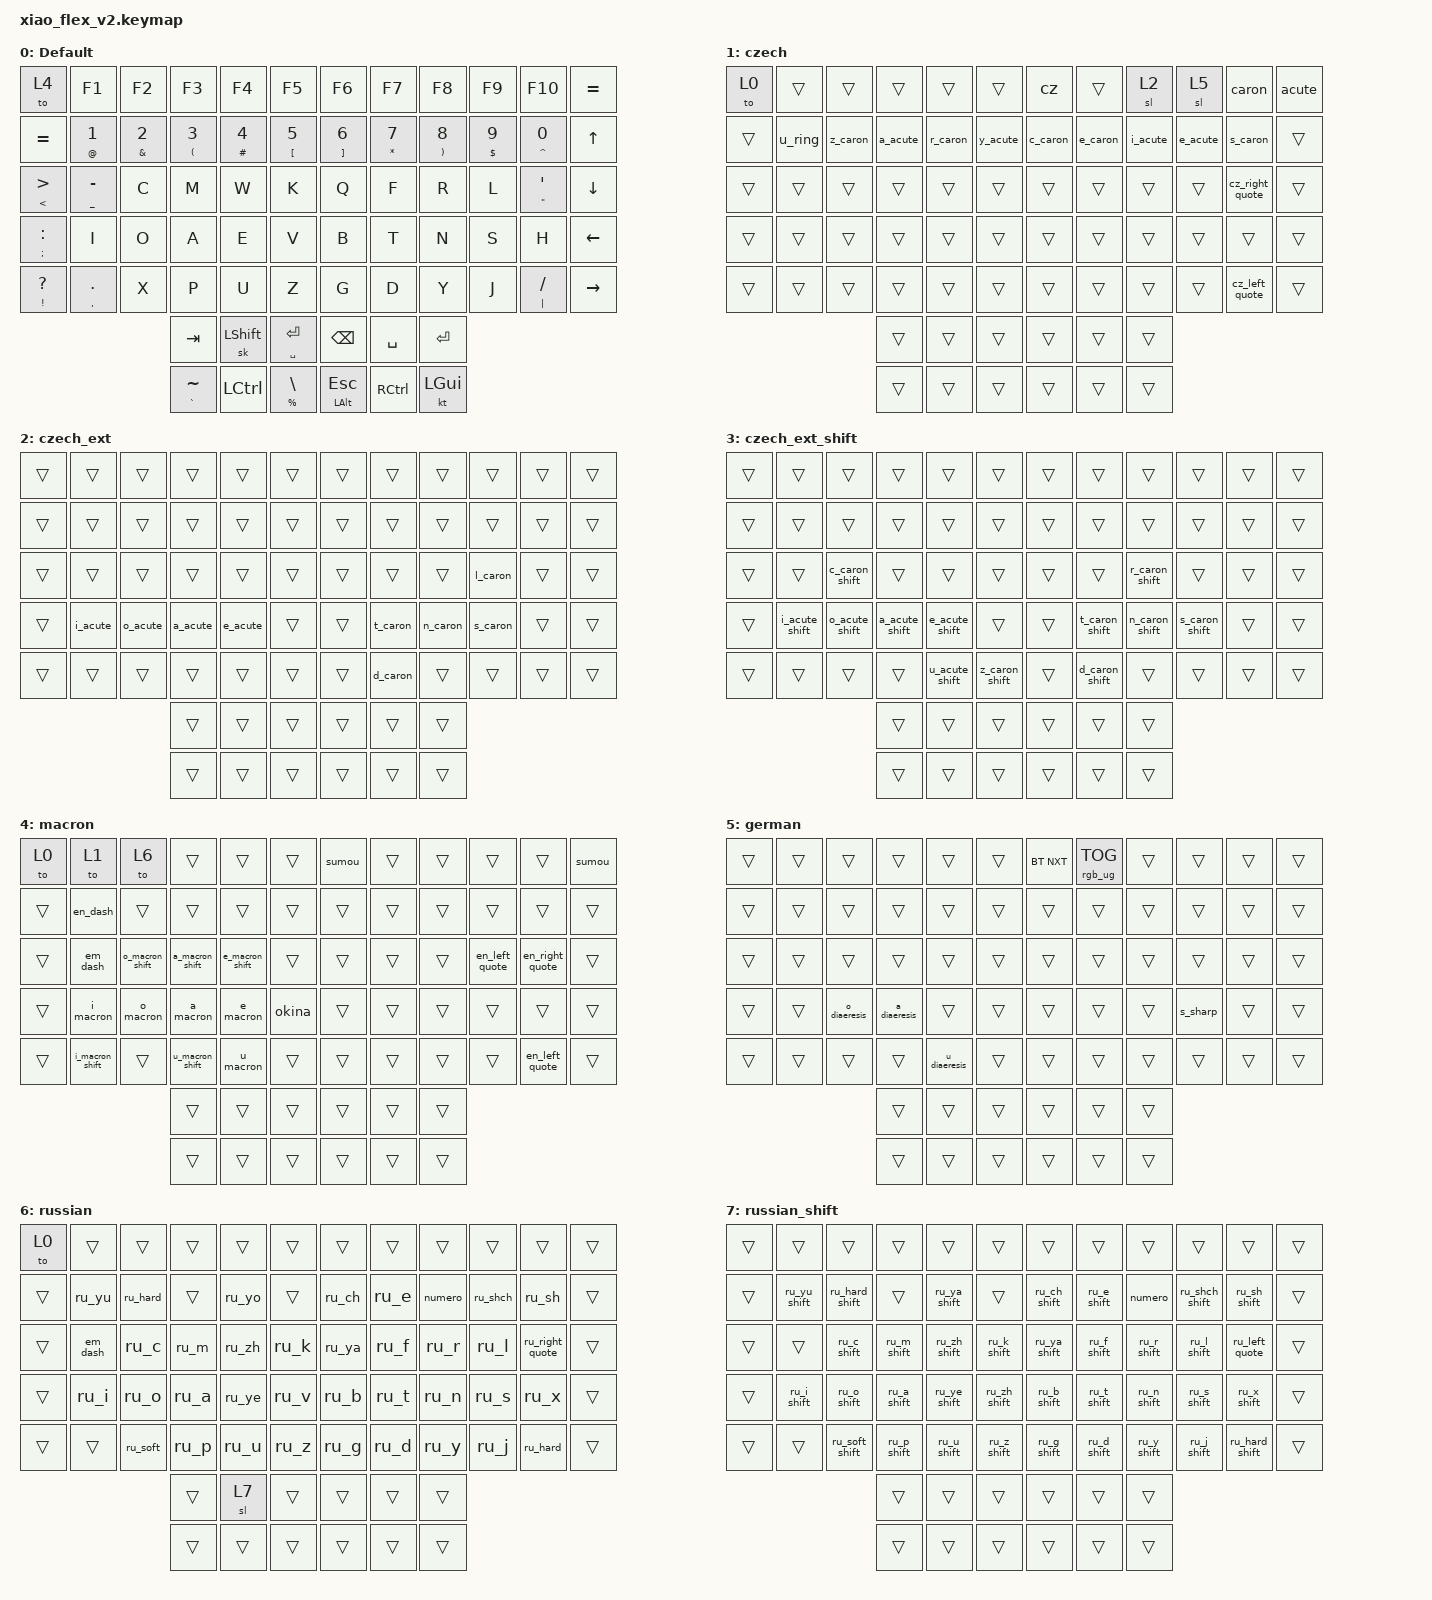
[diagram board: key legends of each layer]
/*
 * Copyright (c) 2020 The ZMK Contributors
 *
 * SPDX-License-Identifier: MIT
 */

#include <behaviors.dtsi>
#include <dt-bindings/zmk/bt.h>
#include <dt-bindings/zmk/keys.h>
#include <dt-bindings/zmk/keys.h>
#include <dt-bindings/zmk/rgb.h>

/ {
    macros {
        a_acute: a_acute {
            compatible = "zmk,behavior-macro";
            #binding-cells = <0>;
            bindings =
                <&macro_press>,
                <&kp LALT>,
                <&macro_tap>,
                <&kp KP_PLUS &kp KP_N0 &kp KP_N0 &kp E &kp KP_N1>,
                <&macro_release>,
                <&kp LALT>;

            label = "A_ACUTE";
        };

        a_acute_shift: a_acute_shift {
            compatible = "zmk,behavior-macro";
            #binding-cells = <0>;
            bindings =
                <&macro_press>,
                <&kp LALT>,
                <&macro_tap>,
                <&kp KP_PLUS &kp KP_N0 &kp KP_N0 &kp C &kp KP_N1>,
                <&macro_release>,
                <&kp LALT>;

            label = "A_ACUTE_SHIFT";
        };

        a_macron: a_macron {
            compatible = "zmk,behavior-macro";
            #binding-cells = <0>;
            bindings =
                <&macro_press>,
                <&kp LALT>,
                <&macro_tap>,
                <&kp KP_PLUS &kp KP_N0 &kp KP_N1 &kp KP_N0 &kp KP_N1>,
                <&macro_release>,
                <&kp LALT>;

            label = "A_MACRON";
        };

        a_macron_shift: a_macron_shift {
            compatible = "zmk,behavior-macro";
            #binding-cells = <0>;
            bindings =
                <&macro_press>,
                <&kp LALT>,
                <&macro_tap>,
                <&kp KP_PLUS &kp KP_N0 &kp KP_N1 &kp KP_N0 &kp KP_N0>,
                <&macro_release>,
                <&kp LALT>;

            label = "A_MACRON_SHIFT";
        };

        a_diaeresis: a_diaeresis {
            compatible = "zmk,behavior-macro";
            #binding-cells = <0>;
            bindings =
                <&macro_press>,
                <&kp LALT>,
                <&macro_tap>,
                <&kp KP_PLUS &kp KP_N0 &kp KP_N0 &kp E &kp KP_N4>,
                <&macro_release>,
                <&kp LALT>;

            label = "A_DIAERESIS";
        };

        a_diaeresis_shift: a_diaeresis_shift {
            compatible = "zmk,behavior-macro";
            #binding-cells = <0>;
            bindings =
                <&macro_press>,
                <&kp LALT>,
                <&macro_tap>,
                <&kp KP_PLUS &kp KP_N0 &kp KP_N0 &kp C &kp KP_N4>,
                <&macro_release>,
                <&kp LALT>;

            label = "A_DIAERESIS_SHIFT";
        };

        acute: acute {
            compatible = "zmk,behavior-macro";
            #binding-cells = <0>;
            bindings =
                <&macro_press>,
                <&kp LALT>,
                <&macro_tap>,
                <&kp KP_PLUS &kp KP_N0 &kp KP_N3 &kp KP_N0 &kp KP_N1>,
                <&macro_release>,
                <&kp LALT>;

            label = "ACUTE";
        };

        c_caron: c_caron {
            compatible = "zmk,behavior-macro";
            #binding-cells = <0>;
            bindings =
                <&macro_press>,
                <&kp LALT>,
                <&macro_tap>,
                <&kp KP_PLUS &kp KP_N0 &kp KP_N1 &kp KP_N0 &kp D>,
                <&macro_release>,
                <&kp LALT>;

            label = "C_CARON";
        };

        c_caron_shift: c_caron_shift {
            compatible = "zmk,behavior-macro";
            #binding-cells = <0>;
            bindings =
                <&macro_press>,
                <&kp LALT>,
                <&macro_tap>,
                <&kp KP_PLUS &kp KP_N0 &kp KP_N1 &kp KP_N0 &kp C>,
                <&macro_release>,
                <&kp LALT>;

            label = "C_CARON_SHIFT";
        };

        caron: caron {
            compatible = "zmk,behavior-macro";
            #binding-cells = <0>;
            bindings =
                <&macro_press>,
                <&kp LALT>,
                <&macro_tap>,
                <&kp KP_PLUS &kp KP_N0 &kp KP_N3 &kp KP_N0 &kp C>,
                <&macro_release>,
                <&kp LALT>;

            label = "CARON";
        };

        d_caron: d_caron {
            compatible = "zmk,behavior-macro";
            #binding-cells = <0>;
            bindings =
                <&macro_press>,
                <&kp LALT>,
                <&macro_tap>,
                <&kp KP_PLUS &kp KP_N0 &kp KP_N1 &kp KP_N0 &kp F>,
                <&macro_release>,
                <&kp LALT>;

            label = "D_CARON";
        };

        d_caron_shift: d_caron_shift {
            compatible = "zmk,behavior-macro";
            #binding-cells = <0>;
            bindings =
                <&macro_press>,
                <&kp LALT>,
                <&macro_tap>,
                <&kp KP_PLUS &kp KP_N0 &kp KP_N1 &kp KP_N0 &kp E>,
                <&macro_release>,
                <&kp LALT>;

            label = "D_CARON_SHIFT";
        };

        e_acute: e_acute {
            compatible = "zmk,behavior-macro";
            #binding-cells = <0>;
            bindings =
                <&macro_press>,
                <&kp LALT>,
                <&macro_tap>,
                <&kp KP_PLUS &kp KP_N0 &kp KP_N0 &kp E &kp KP_N9>,
                <&macro_release>,
                <&kp LALT>;

            label = "E_ACUTE";
        };

        e_acute_shift: e_acute_shift {
            compatible = "zmk,behavior-macro";
            #binding-cells = <0>;
            bindings =
                <&macro_press>,
                <&kp LALT>,
                <&macro_tap>,
                <&kp KP_PLUS &kp KP_N0 &kp KP_N0 &kp C &kp KP_N9>,
                <&macro_release>,
                <&kp LALT>;

            label = "E_ACUTE_SHIFT";
        };

        e_caron: e_caron {
            compatible = "zmk,behavior-macro";
            #binding-cells = <0>;
            bindings =
                <&macro_press>,
                <&kp LALT>,
                <&macro_tap>,
                <&kp KP_PLUS &kp KP_N0 &kp KP_N1 &kp KP_N1 &kp B>,
                <&macro_release>,
                <&kp LALT>;

            label = "E_CARON";
        };

        e_caron_shift: e_caron_shift {
            compatible = "zmk,behavior-macro";
            #binding-cells = <0>;
            bindings =
                <&macro_press>,
                <&kp LALT>,
                <&macro_tap>,
                <&kp KP_PLUS &kp KP_N0 &kp KP_N1 &kp KP_N1 &kp A>,
                <&macro_release>,
                <&kp LALT>;

            label = "E_CARON_SHIFT";
        };

        e_macron: e_macron {
            compatible = "zmk,behavior-macro";
            #binding-cells = <0>;
            bindings =
                <&macro_press>,
                <&kp LALT>,
                <&macro_tap>,
                <&kp KP_PLUS &kp KP_N0 &kp KP_N1 &kp KP_N1 &kp KP_N3>,
                <&macro_release>,
                <&kp LALT>;

            label = "E_MACRON";
        };

        e_macron_shift: e_macron_shift {
            compatible = "zmk,behavior-macro";
            #binding-cells = <0>;
            bindings =
                <&macro_press>,
                <&kp LALT>,
                <&macro_tap>,
                <&kp KP_PLUS &kp KP_N0 &kp KP_N1 &kp KP_N1 &kp KP_N2>,
                <&macro_release>,
                <&kp LALT>;

            label = "E_MACRON_SHIFT";
        };

        em_dash: em_dash {
            compatible = "zmk,behavior-macro";
            #binding-cells = <0>;
            bindings =
                <&macro_press>,
                <&kp LALT>,
                <&macro_tap>,
                <&kp KP_PLUS &kp KP_N2 &kp KP_N0 &kp KP_N1 &kp KP_NUMBER_4>,
                <&macro_release>,
                <&kp LALT>;

            label = "EM_DASH";
        };

        en_dash: en_dash {
            compatible = "zmk,behavior-macro";
            #binding-cells = <0>;
            bindings =
                <&macro_press>,
                <&kp LALT>,
                <&macro_tap>,
                <&kp KP_PLUS &kp KP_N2 &kp KP_N0 &kp KP_N1 &kp KP_N3>,
                <&macro_release>,
                <&kp LALT>;

            label = "EN_DASH";
        };

        i_acute: i_acute {
            compatible = "zmk,behavior-macro";
            #binding-cells = <0>;
            bindings =
                <&macro_press>,
                <&kp LALT>,
                <&macro_tap>,
                <&kp KP_PLUS &kp KP_N0 &kp KP_N0 &kp E &kp D>,
                <&macro_release>,
                <&kp LALT>;

            label = "I_ACUTE";
        };

        i_acute_shift: i_acute_shift {
            compatible = "zmk,behavior-macro";
            #binding-cells = <0>;
            bindings =
                <&macro_press>,
                <&kp LALT>,
                <&macro_tap>,
                <&kp KP_PLUS &kp KP_N0 &kp KP_N0 &kp C &kp D>,
                <&macro_release>,
                <&kp LALT>;

            label = "I_ACUTE_SHIFT";
        };

        i_macron: i_macron {
            compatible = "zmk,behavior-macro";
            #binding-cells = <0>;
            bindings =
                <&macro_press>,
                <&kp LALT>,
                <&macro_tap>,
                <&kp KP_PLUS &kp KP_N0 &kp KP_N1 &kp KP_N1 &kp B>,
                <&macro_release>,
                <&kp LALT>;

            label = "I_MACRON";
        };

        i_macron_shift: i_macron_shift {
            compatible = "zmk,behavior-macro";
            #binding-cells = <0>;
            bindings =
                <&macro_press>,
                <&kp LALT>,
                <&macro_tap>,
                <&kp KP_PLUS &kp KP_N0 &kp KP_N1 &kp KP_N1 &kp A>,
                <&macro_release>,
                <&kp LALT>;

            label = "I_MACRON_SHIFT";
        };

        l_caron: l_caron {
            compatible = "zmk,behavior-macro";
            #binding-cells = <0>;
            bindings =
                <&macro_press>,
                <&kp LALT>,
                <&macro_tap>,
                <&kp KP_PLUS &kp KP_N0 &kp KP_N1 &kp KP_N3 &kp E>,
                <&macro_release>,
                <&kp LALT>;

            label = "L_CARON";
        };

        l_caron_shift: l_caron_shift {
            compatible = "zmk,behavior-macro";
            #binding-cells = <0>;
            bindings =
                <&macro_press>,
                <&kp LALT>,
                <&macro_tap>,
                <&kp KP_PLUS &kp KP_N0 &kp KP_N1 &kp KP_N3 &kp D>,
                <&macro_release>,
                <&kp LALT>;

            label = "L_CARON_SHIFT";
        };

        n_caron: n_caron {
            compatible = "zmk,behavior-macro";
            #binding-cells = <0>;
            bindings =
                <&macro_press>,
                <&kp LALT>,
                <&macro_tap>,
                <&kp KP_PLUS &kp KP_N0 &kp KP_N1 &kp KP_N4 &kp KP_N8>,
                <&macro_release>,
                <&kp LALT>;

            label = "N_CARON";
        };

        n_caron_shift: n_caron_shift {
            compatible = "zmk,behavior-macro";
            #binding-cells = <0>;
            bindings =
                <&macro_press>,
                <&kp LALT>,
                <&macro_tap>,
                <&kp KP_PLUS &kp KP_N0 &kp KP_N1 &kp KP_N4 &kp KP_N7>,
                <&macro_release>,
                <&kp LALT>;

            label = "N_CARON_SHIFT";
        };

        numero: numero {
            compatible = "zmk,behavior-macro";
            #binding-cells = <0>;
            bindings =
                <&macro_press>,
                <&kp LALT>,
                <&macro_tap>,
                <&kp KP_PLUS &kp KP_N2 &kp KP_N1 &kp KP_N1 &kp KP_N6>,
                <&macro_release>,
                <&kp LALT>;

            label = "NUMERO";
        };

        o_acute: o_acute {
            compatible = "zmk,behavior-macro";
            #binding-cells = <0>;
            bindings =
                <&macro_press>,
                <&kp LALT>,
                <&macro_tap>,
                <&kp KP_PLUS &kp KP_N0 &kp KP_N0 &kp F &kp KP_N3>,
                <&macro_release>,
                <&kp LALT>;

            label = "O_ACUTE";
        };

        o_acute_shift: o_acute_shift {
            compatible = "zmk,behavior-macro";
            #binding-cells = <0>;
            bindings =
                <&macro_press>,
                <&kp LALT>,
                <&macro_tap>,
                <&kp KP_PLUS &kp KP_N0 &kp KP_N0 &kp D &kp KP_N3>,
                <&macro_release>,
                <&kp LALT>;

            label = "O_ACUTE_SHIFT";
        };

        o_macron: o_macron {
            compatible = "zmk,behavior-macro";
            #binding-cells = <0>;
            bindings =
                <&macro_press>,
                <&kp LALT>,
                <&macro_tap>,
                <&kp KP_PLUS &kp KP_N0 &kp KP_N1 &kp KP_N4 &kp D>,
                <&macro_release>,
                <&kp LALT>;

            label = "O_MACRON";
        };

        o_macron_shift: o_macron_shift {
            compatible = "zmk,behavior-macro";
            #binding-cells = <0>;
            bindings =
                <&macro_press>,
                <&kp LALT>,
                <&macro_tap>,
                <&kp KP_PLUS &kp KP_N0 &kp KP_N1 &kp KP_N4 &kp C>,
                <&macro_release>,
                <&kp LALT>;

            label = "O_MACRON_SHIFT";
        };

        o_diaeresis: o_diaeresis {
            compatible = "zmk,behavior-macro";
            #binding-cells = <0>;
            bindings =
                <&macro_press>,
                <&kp LALT>,
                <&macro_tap>,
                <&kp KP_PLUS &kp KP_N0 &kp KP_N0 &kp F &kp KP_N6>,
                <&macro_release>,
                <&kp LALT>;

            label = "O_DIAERESIS";
        };

        o_diaeresis_shift: o_diaeresis_shift {
            compatible = "zmk,behavior-macro";
            #binding-cells = <0>;
            bindings =
                <&macro_press>,
                <&kp LALT>,
                <&macro_tap>,
                <&kp KP_PLUS &kp KP_N0 &kp KP_N0 &kp D &kp KP_N6>,
                <&macro_release>,
                <&kp LALT>;

            label = "O_DIAERESIS_SHIFT";
        };

        okina: okina {
            compatible = "zmk,behavior-macro";
            #binding-cells = <0>;
            bindings =
                <&macro_press>,
                <&kp LALT>,
                <&macro_tap>,
                <&kp KP_PLUS &kp KP_N0 &kp KP_N2 &kp B &kp B>,
                <&macro_release>,
                <&kp LALT>;

            label = "OKINA";
        };

        r_caron: r_caron {
            compatible = "zmk,behavior-macro";
            #binding-cells = <0>;
            bindings =
                <&macro_press>,
                <&kp LALT>,
                <&macro_tap>,
                <&kp KP_PLUS &kp KP_N0 &kp KP_N1 &kp KP_N5 &kp KP_N9>,
                <&macro_release>,
                <&kp LALT>;

            label = "R_CARON";
        };

        r_caron_shift: r_caron_shift {
            compatible = "zmk,behavior-macro";
            #binding-cells = <0>;
            bindings =
                <&macro_press>,
                <&kp LALT>,
                <&macro_tap>,
                <&kp KP_PLUS &kp KP_N0 &kp KP_N1 &kp KP_N5 &kp KP_N8>,
                <&macro_release>,
                <&kp LALT>;

            label = "R_CARON_SHIFT";
        };

        s_caron: s_caron {
            compatible = "zmk,behavior-macro";
            #binding-cells = <0>;
            bindings =
                <&macro_press>,
                <&kp LALT>,
                <&macro_tap>,
                <&kp KP_PLUS &kp KP_N0 &kp KP_N1 &kp KP_N6 &kp KP_N1>,
                <&macro_release>,
                <&kp LALT>;

            label = "S_CARON";
        };

        s_caron_shift: s_caron_shift {
            compatible = "zmk,behavior-macro";
            #binding-cells = <0>;
            bindings =
                <&macro_press>,
                <&kp LALT>,
                <&macro_tap>,
                <&kp KP_PLUS &kp KP_N0 &kp KP_N1 &kp KP_N6 &kp KP_N0>,
                <&macro_release>,
                <&kp LALT>;

            label = "S_CARON_SHIFT";
        };

        s_sharp: s_sharp {
            compatible = "zmk,behavior-macro";
            #binding-cells = <0>;
            bindings =
                <&macro_press>,
                <&kp LALT>,
                <&macro_tap>,
                <&kp KP_PLUS &kp KP_N0 &kp KP_N0 &kp D &kp F>,
                <&macro_release>,
                <&kp LALT>;

            label = "S_SHARP";
        };

        t_caron: t_caron {
            compatible = "zmk,behavior-macro";
            #binding-cells = <0>;
            bindings =
                <&macro_press>,
                <&kp LALT>,
                <&macro_tap>,
                <&kp KP_PLUS &kp KP_N0 &kp KP_N1 &kp KP_N6 &kp KP_N5>,
                <&macro_release>,
                <&kp LALT>;

            label = "T_CARON";
        };

        t_caron_shift: t_caron_shift {
            compatible = "zmk,behavior-macro";
            #binding-cells = <0>;
            bindings =
                <&macro_press>,
                <&kp LALT>,
                <&macro_tap>,
                <&kp KP_PLUS &kp KP_N0 &kp KP_N1 &kp KP_N6 &kp KP_N4>,
                <&macro_release>,
                <&kp LALT>;

            label = "T_CARON_SHIFT";
        };

        u_acute: u_acute {
            compatible = "zmk,behavior-macro";
            #binding-cells = <0>;
            bindings =
                <&macro_press>,
                <&kp LALT>,
                <&macro_tap>,
                <&kp KP_PLUS &kp KP_N0 &kp KP_N0 &kp F &kp A>,
                <&macro_release>,
                <&kp LALT>;

            label = "U_ACUTE";
        };

        u_acute_shift: u_acute_shift {
            compatible = "zmk,behavior-macro";
            #binding-cells = <0>;
            bindings =
                <&macro_press>,
                <&kp LALT>,
                <&macro_tap>,
                <&kp KP_PLUS &kp KP_N0 &kp KP_N0 &kp D &kp A>,
                <&macro_release>,
                <&kp LALT>;

            label = "U_ACUTE_SHIFT";
        };

        u_macron: u_macron {
            compatible = "zmk,behavior-macro";
            #binding-cells = <0>;
            bindings =
                <&macro_press>,
                <&kp LALT>,
                <&macro_tap>,
                <&kp KP_PLUS &kp KP_N0 &kp KP_N1 &kp KP_N6 &kp B>,
                <&macro_release>,
                <&kp LALT>;

            label = "U_MACRON";
        };

        u_macron_shift: u_macron_shift {
            compatible = "zmk,behavior-macro";
            #binding-cells = <0>;
            bindings =
                <&macro_press>,
                <&kp LALT>,
                <&macro_tap>,
                <&kp KP_PLUS &kp KP_N0 &kp KP_N1 &kp KP_N6 &kp A>,
                <&macro_release>,
                <&kp LALT>;

            label = "U_MACRON_SHIFT";
        };

        u_ring: u_ring {
            compatible = "zmk,behavior-macro";
            #binding-cells = <0>;
            bindings =
                <&macro_press>,
                <&kp LALT>,
                <&macro_tap>,
                <&kp KP_PLUS &kp KP_N0 &kp KP_N1 &kp KP_N6 &kp F>,
                <&macro_release>,
                <&kp LALT>;

            label = "U_RING";
        };

        u_ring_shift: u_ring_shift {
            compatible = "zmk,behavior-macro";
            #binding-cells = <0>;
            bindings =
                <&macro_press>,
                <&kp LALT>,
                <&macro_tap>,
                <&kp KP_PLUS &kp KP_N0 &kp KP_N1 &kp KP_N6 &kp E>,
                <&macro_release>,
                <&kp LALT>;

            label = "U_RING_SHIFT";
        };

        u_diaeresis: u_diaeresis {
            compatible = "zmk,behavior-macro";
            #binding-cells = <0>;
            bindings =
                <&macro_press>,
                <&kp LALT>,
                <&macro_tap>,
                <&kp KP_PLUS &kp KP_N0 &kp KP_N0 &kp F &kp C>,
                <&macro_release>,
                <&kp LALT>;

            label = "U_DIAERESIS";
        };

        u_diaeresis_shift: u_diaeresis_shift {
            compatible = "zmk,behavior-macro";
            #binding-cells = <0>;
            bindings =
                <&macro_press>,
                <&kp LALT>,
                <&macro_tap>,
                <&kp KP_PLUS &kp KP_N0 &kp KP_N0 &kp D &kp C>,
                <&macro_release>,
                <&kp LALT>;

            label = "U_DIAERESIS_SHIFT";
        };

        y_acute: y_acute {
            compatible = "zmk,behavior-macro";
            #binding-cells = <0>;
            bindings =
                <&macro_press>,
                <&kp LALT>,
                <&macro_tap>,
                <&kp KP_PLUS &kp KP_N0 &kp KP_N0 &kp F &kp D>,
                <&macro_release>,
                <&kp LALT>;

            label = "Y_ACUTE";
        };

        y_acute_shift: y_acute_shift {
            compatible = "zmk,behavior-macro";
            #binding-cells = <0>;
            bindings =
                <&macro_press>,
                <&kp LALT>,
                <&macro_tap>,
                <&kp KP_PLUS &kp KP_N0 &kp KP_N0 &kp D &kp D>,
                <&macro_release>,
                <&kp LALT>;

            label = "Y_ACUTE_SHIFT";
        };

        z_caron: z_caron {
            compatible = "zmk,behavior-macro";
            #binding-cells = <0>;
            bindings =
                <&macro_press>,
                <&kp LALT>,
                <&macro_tap>,
                <&kp KP_PLUS &kp KP_N0 &kp KP_N1 &kp KP_N7 &kp E>,
                <&macro_release>,
                <&kp LALT>;

            label = "Z_CARON";
        };

        z_caron_shift: z_caron_shift {
            compatible = "zmk,behavior-macro";
            #binding-cells = <0>;
            bindings =
                <&macro_press>,
                <&kp LALT>,
                <&macro_tap>,
                <&kp KP_PLUS &kp KP_N0 &kp KP_N1 &kp KP_N7 &kp D>,
                <&macro_release>,
                <&kp LALT>;

            label = "Z_CARON_SHIFT";
        };

        ru_a: ru_a {
            compatible = "zmk,behavior-macro";
            #binding-cells = <0>;
            bindings =
                <&macro_press>,
                <&kp LALT>,
                <&macro_tap>,
                <&kp KP_PLUS &kp KP_N0 &kp KP_N4 &kp KP_N3 &kp KP_N0>,
                <&macro_release>,
                <&kp LALT>;

            label = "RU_A";
        };

        ru_a_shift: ru_a_shift {
            compatible = "zmk,behavior-macro";
            #binding-cells = <0>;
            bindings =
                <&macro_press>,
                <&kp LALT>,
                <&macro_tap>,
                <&kp KP_PLUS &kp KP_N0 &kp KP_N4 &kp KP_N1 &kp KP_N0>,
                <&macro_release>,
                <&kp LALT>;

            label = "RU_A_SHIFT";
        };

        ru_b: ru_b {
            compatible = "zmk,behavior-macro";
            #binding-cells = <0>;
            bindings =
                <&macro_press>,
                <&kp LALT>,
                <&macro_tap>,
                <&kp KP_PLUS &kp KP_N0 &kp KP_N4 &kp KP_N3 &kp KP_N1>,
                <&macro_release>,
                <&kp LALT>;

            label = "RU_B";
        };

        ru_b_shift: ru_b_shift {
            compatible = "zmk,behavior-macro";
            #binding-cells = <0>;
            bindings =
                <&macro_press>,
                <&kp LALT>,
                <&macro_tap>,
                <&kp KP_PLUS &kp KP_N0 &kp KP_N4 &kp KP_N1 &kp KP_N1>,
                <&macro_release>,
                <&kp LALT>;

            label = "RU_B_SHIFT";
        };

        ru_v: ru_v {
            compatible = "zmk,behavior-macro";
            #binding-cells = <0>;
            bindings =
                <&macro_press>,
                <&kp LALT>,
                <&macro_tap>,
                <&kp KP_PLUS &kp KP_N0 &kp KP_N4 &kp KP_N3 &kp KP_N2>,
                <&macro_release>,
                <&kp LALT>;

            label = "RU_V";
        };

        ru_v_shift: ru_v_shift {
            compatible = "zmk,behavior-macro";
            #binding-cells = <0>;
            bindings =
                <&macro_press>,
                <&kp LALT>,
                <&macro_tap>,
                <&kp KP_PLUS &kp KP_N0 &kp KP_N4 &kp KP_N1 &kp KP_N2>,
                <&macro_release>,
                <&kp LALT>;

            label = "RU_V_SHIFT";
        };

        ru_g: ru_g {
            compatible = "zmk,behavior-macro";
            #binding-cells = <0>;
            bindings =
                <&macro_press>,
                <&kp LALT>,
                <&macro_tap>,
                <&kp KP_PLUS &kp KP_N0 &kp KP_N4 &kp KP_N3 &kp KP_N3>,
                <&macro_release>,
                <&kp LALT>;

            label = "RU_G";
        };

        ru_g_shift: ru_g_shift {
            compatible = "zmk,behavior-macro";
            #binding-cells = <0>;
            bindings =
                <&macro_press>,
                <&kp LALT>,
                <&macro_tap>,
                <&kp KP_PLUS &kp KP_N0 &kp KP_N4 &kp KP_N1 &kp KP_N3>,
                <&macro_release>,
                <&kp LALT>;

            label = "RU_G_SHIFT";
        };

        ru_d: ru_d {
            compatible = "zmk,behavior-macro";
            #binding-cells = <0>;
            bindings =
                <&macro_press>,
                <&kp LALT>,
                <&macro_tap>,
                <&kp KP_PLUS &kp KP_N0 &kp KP_N4 &kp KP_N3 &kp KP_N4>,
                <&macro_release>,
                <&kp LALT>;

            label = "RU_D";
        };

        ru_d_shift: ru_d_shift {
            compatible = "zmk,behavior-macro";
            #binding-cells = <0>;
            bindings =
                <&macro_press>,
                <&kp LALT>,
                <&macro_tap>,
                <&kp KP_PLUS &kp KP_N0 &kp KP_N4 &kp KP_N1 &kp KP_N4>,
                <&macro_release>,
                <&kp LALT>;

            label = "RU_D_SHIFT";
        };

        ru_ye: ru_ye {
            compatible = "zmk,behavior-macro";
            #binding-cells = <0>;
            bindings =
                <&macro_press>,
                <&kp LALT>,
                <&macro_tap>,
                <&kp KP_PLUS &kp KP_N0 &kp KP_N4 &kp KP_N3 &kp KP_N5>,
                <&macro_release>,
                <&kp LALT>;

            label = "RU_YE";
        };

        ru_ye_shift: ru_ye_shift {
            compatible = "zmk,behavior-macro";
            #binding-cells = <0>;
            bindings =
                <&macro_press>,
                <&kp LALT>,
                <&macro_tap>,
                <&kp KP_PLUS &kp KP_N0 &kp KP_N4 &kp KP_N1 &kp KP_N5>,
                <&macro_release>,
                <&kp LALT>;

            label = "RU_YE_SHIFT";
        };

        ru_yo: ru_yo {
            compatible = "zmk,behavior-macro";
            #binding-cells = <0>;
            bindings =
                <&macro_press>,
                <&kp LALT>,
                <&macro_tap>,
                <&kp KP_PLUS &kp KP_N0 &kp KP_N4 &kp KP_N5 &kp KP_N1>,
                <&macro_release>,
                <&kp LALT>;

            label = "RU_YO";
        };

        ru_yo_shift: ru_yo_shift {
            compatible = "zmk,behavior-macro";
            #binding-cells = <0>;
            bindings =
                <&macro_press>,
                <&kp LALT>,
                <&macro_tap>,
                <&kp KP_PLUS &kp KP_N0 &kp KP_N4 &kp KP_N0 &kp KP_N1>,
                <&macro_release>,
                <&kp LALT>;

            label = "RU_YO_SHIFT";
        };

        ru_zh: ru_zh {
            compatible = "zmk,behavior-macro";
            #binding-cells = <0>;
            bindings =
                <&macro_press>,
                <&kp LALT>,
                <&macro_tap>,
                <&kp KP_PLUS &kp KP_N0 &kp KP_N4 &kp KP_N3 &kp KP_N6>,
                <&macro_release>,
                <&kp LALT>;

            label = "RU_ZH";
        };

        ru_zh_shift: ru_zh_shift {
            compatible = "zmk,behavior-macro";
            #binding-cells = <0>;
            bindings =
                <&macro_press>,
                <&kp LALT>,
                <&macro_tap>,
                <&kp KP_PLUS &kp KP_N0 &kp KP_N4 &kp KP_N1 &kp KP_N6>,
                <&macro_release>,
                <&kp LALT>;

            label = "RU_ZH_SHIFT";
        };

        ru_z: ru_z {
            compatible = "zmk,behavior-macro";
            #binding-cells = <0>;
            bindings =
                <&macro_press>,
                <&kp LALT>,
                <&macro_tap>,
                <&kp KP_PLUS &kp KP_N0 &kp KP_N4 &kp KP_N3 &kp KP_N7>,
                <&macro_release>,
                <&kp LALT>;

            label = "RU_Z";
        };

        ru_z_shift: ru_z_shift {
            compatible = "zmk,behavior-macro";
            #binding-cells = <0>;
            bindings =
                <&macro_press>,
                <&kp LALT>,
                <&macro_tap>,
                <&kp KP_PLUS &kp KP_N0 &kp KP_N4 &kp KP_N1 &kp KP_N7>,
                <&macro_release>,
                <&kp LALT>;

            label = "RU_Z_SHIFT";
        };

        ru_i: ru_i {
            compatible = "zmk,behavior-macro";
            #binding-cells = <0>;
            bindings =
                <&macro_press>,
                <&kp LALT>,
                <&macro_tap>,
                <&kp KP_PLUS &kp KP_N0 &kp KP_N4 &kp KP_N3 &kp KP_N8>,
                <&macro_release>,
                <&kp LALT>;

            label = "RU_I";
        };

        ru_i_shift: ru_i_shift {
            compatible = "zmk,behavior-macro";
            #binding-cells = <0>;
            bindings =
                <&macro_press>,
                <&kp LALT>,
                <&macro_tap>,
                <&kp KP_PLUS &kp KP_N0 &kp KP_N4 &kp KP_N1 &kp KP_N8>,
                <&macro_release>,
                <&kp LALT>;

            label = "RU_I_SHIFT";
        };

        ru_j: ru_j {
            compatible = "zmk,behavior-macro";
            #binding-cells = <0>;
            bindings =
                <&macro_press>,
                <&kp LALT>,
                <&macro_tap>,
                <&kp KP_PLUS &kp KP_N0 &kp KP_N4 &kp KP_N3 &kp KP_N9>,
                <&macro_release>,
                <&kp LALT>;

            label = "RU_J";
        };

        ru_j_shift: ru_j_shift {
            compatible = "zmk,behavior-macro";
            #binding-cells = <0>;
            bindings =
                <&macro_press>,
                <&kp LALT>,
                <&macro_tap>,
                <&kp KP_PLUS &kp KP_N0 &kp KP_N4 &kp KP_N1 &kp KP_N9>,
                <&macro_release>,
                <&kp LALT>;

            label = "RU_J_SHIFT";
        };

        ru_k: ru_k {
            compatible = "zmk,behavior-macro";
            #binding-cells = <0>;
            bindings =
                <&macro_press>,
                <&kp LALT>,
                <&macro_tap>,
                <&kp KP_PLUS &kp KP_N0 &kp KP_N4 &kp KP_N3 &kp A>,
                <&macro_release>,
                <&kp LALT>;

            label = "RU_K";
        };

        ru_k_shift: ru_k_shift {
            compatible = "zmk,behavior-macro";
            #binding-cells = <0>;
            bindings =
                <&macro_press>,
                <&kp LALT>,
                <&macro_tap>,
                <&kp KP_PLUS &kp KP_N0 &kp KP_N4 &kp KP_N1 &kp A>,
                <&macro_release>,
                <&kp LALT>;

            label = "RU_K_SHIFT";
        };

        ru_l: ru_l {
            compatible = "zmk,behavior-macro";
            #binding-cells = <0>;
            bindings =
                <&macro_press>,
                <&kp LALT>,
                <&macro_tap>,
                <&kp KP_PLUS &kp KP_N0 &kp KP_N4 &kp KP_N3 &kp B>,
                <&macro_release>,
                <&kp LALT>;

            label = "RU_L";
        };

        ru_l_shift: ru_l_shift {
            compatible = "zmk,behavior-macro";
            #binding-cells = <0>;
            bindings =
                <&macro_press>,
                <&kp LALT>,
                <&macro_tap>,
                <&kp KP_PLUS &kp KP_N0 &kp KP_N4 &kp KP_N1 &kp B>,
                <&macro_release>,
                <&kp LALT>;

            label = "RU_L_SHIFT";
        };

        ru_m: ru_m {
            compatible = "zmk,behavior-macro";
            #binding-cells = <0>;
            bindings =
                <&macro_press>,
                <&kp LALT>,
                <&macro_tap>,
                <&kp KP_PLUS &kp KP_N0 &kp KP_N4 &kp KP_N3 &kp C>,
                <&macro_release>,
                <&kp LALT>;

            label = "RU_M";
        };

        ru_m_shift: ru_m_shift {
            compatible = "zmk,behavior-macro";
            #binding-cells = <0>;
            bindings =
                <&macro_press>,
                <&kp LALT>,
                <&macro_tap>,
                <&kp KP_PLUS &kp KP_N0 &kp KP_N4 &kp KP_N1 &kp C>,
                <&macro_release>,
                <&kp LALT>;

            label = "RU_M_SHIFT";
        };

        ru_n: ru_n {
            compatible = "zmk,behavior-macro";
            #binding-cells = <0>;
            bindings =
                <&macro_press>,
                <&kp LALT>,
                <&macro_tap>,
                <&kp KP_PLUS &kp KP_N0 &kp KP_N4 &kp KP_N3 &kp D>,
                <&macro_release>,
                <&kp LALT>;

            label = "RU_N";
        };

        ru_n_shift: ru_n_shift {
            compatible = "zmk,behavior-macro";
            #binding-cells = <0>;
            bindings =
                <&macro_press>,
                <&kp LALT>,
                <&macro_tap>,
                <&kp KP_PLUS &kp KP_N0 &kp KP_N4 &kp KP_N1 &kp D>,
                <&macro_release>,
                <&kp LALT>;

            label = "RU_N_SHIFT";
        };

        ru_o: ru_o {
            compatible = "zmk,behavior-macro";
            #binding-cells = <0>;
            bindings =
                <&macro_press>,
                <&kp LALT>,
                <&macro_tap>,
                <&kp KP_PLUS &kp KP_N0 &kp KP_N4 &kp KP_N3 &kp E>,
                <&macro_release>,
                <&kp LALT>;

            label = "RU_O";
        };

        ru_o_shift: ru_o_shift {
            compatible = "zmk,behavior-macro";
            #binding-cells = <0>;
            bindings =
                <&macro_press>,
                <&kp LALT>,
                <&macro_tap>,
                <&kp KP_PLUS &kp KP_N0 &kp KP_N4 &kp KP_N1 &kp E>,
                <&macro_release>,
                <&kp LALT>;

            label = "RU_O_SHIFT";
        };

        ru_p: ru_p {
            compatible = "zmk,behavior-macro";
            #binding-cells = <0>;
            bindings =
                <&macro_press>,
                <&kp LALT>,
                <&macro_tap>,
                <&kp KP_PLUS &kp KP_N0 &kp KP_N4 &kp KP_N3 &kp F>,
                <&macro_release>,
                <&kp LALT>;

            label = "RU_P";
        };

        ru_p_shift: ru_p_shift {
            compatible = "zmk,behavior-macro";
            #binding-cells = <0>;
            bindings =
                <&macro_press>,
                <&kp LALT>,
                <&macro_tap>,
                <&kp KP_PLUS &kp KP_N0 &kp KP_N4 &kp KP_N1 &kp F>,
                <&macro_release>,
                <&kp LALT>;

            label = "RU_P_SHIFT";
        };

        ru_r: ru_r {
            compatible = "zmk,behavior-macro";
            #binding-cells = <0>;
            bindings =
                <&macro_press>,
                <&kp LALT>,
                <&macro_tap>,
                <&kp KP_PLUS &kp KP_N0 &kp KP_N4 &kp KP_N4 &kp KP_N0>,
                <&macro_release>,
                <&kp LALT>;

            label = "RU_R";
        };

        ru_r_shift: ru_r_shift {
            compatible = "zmk,behavior-macro";
            #binding-cells = <0>;
            bindings =
                <&macro_press>,
                <&kp LALT>,
                <&macro_tap>,
                <&kp KP_PLUS &kp KP_N0 &kp KP_N4 &kp KP_N2 &kp KP_N0>,
                <&macro_release>,
                <&kp LALT>;

            label = "RU_R_SHIFT";
        };

        ru_s: ru_s {
            compatible = "zmk,behavior-macro";
            #binding-cells = <0>;
            bindings =
                <&macro_press>,
                <&kp LALT>,
                <&macro_tap>,
                <&kp KP_PLUS &kp KP_N0 &kp KP_N4 &kp KP_N4 &kp KP_N1>,
                <&macro_release>,
                <&kp LALT>;

            label = "RU_S";
        };

        ru_s_shift: ru_s_shift {
            compatible = "zmk,behavior-macro";
            #binding-cells = <0>;
            bindings =
                <&macro_press>,
                <&kp LALT>,
                <&macro_tap>,
                <&kp KP_PLUS &kp KP_N0 &kp KP_N4 &kp KP_N2 &kp KP_N1>,
                <&macro_release>,
                <&kp LALT>;

            label = "RU_S_SHIFT";
        };

        ru_t: ru_t {
            compatible = "zmk,behavior-macro";
            #binding-cells = <0>;
            bindings =
                <&macro_press>,
                <&kp LALT>,
                <&macro_tap>,
                <&kp KP_PLUS &kp KP_N0 &kp KP_N4 &kp KP_N4 &kp KP_N2>,
                <&macro_release>,
                <&kp LALT>;

            label = "RU_T";
        };

        ru_t_shift: ru_t_shift {
            compatible = "zmk,behavior-macro";
            #binding-cells = <0>;
            bindings =
                <&macro_press>,
                <&kp LALT>,
                <&macro_tap>,
                <&kp KP_PLUS &kp KP_N0 &kp KP_N4 &kp KP_N2 &kp KP_N2>,
                <&macro_release>,
                <&kp LALT>;

            label = "RU_T_SHIFT";
        };

        ru_u: ru_u {
            compatible = "zmk,behavior-macro";
            #binding-cells = <0>;
            bindings =
                <&macro_press>,
                <&kp LALT>,
                <&macro_tap>,
                <&kp KP_PLUS &kp KP_N0 &kp KP_N4 &kp KP_N4 &kp KP_N3>,
                <&macro_release>,
                <&kp LALT>;

            label = "RU_U";
        };

        ru_u_shift: ru_u_shift {
            compatible = "zmk,behavior-macro";
            #binding-cells = <0>;
            bindings =
                <&macro_press>,
                <&kp LALT>,
                <&macro_tap>,
                <&kp KP_PLUS &kp KP_N0 &kp KP_N4 &kp KP_N2 &kp KP_N3>,
                <&macro_release>,
                <&kp LALT>;

            label = "RU_U_SHIFT";
        };

        ru_f: ru_f {
            compatible = "zmk,behavior-macro";
            #binding-cells = <0>;
            bindings =
                <&macro_press>,
                <&kp LALT>,
                <&macro_tap>,
                <&kp KP_PLUS &kp KP_N0 &kp KP_N4 &kp KP_N4 &kp KP_N4>,
                <&macro_release>,
                <&kp LALT>;

            label = "RU_F";
        };

        ru_f_shift: ru_f_shift {
            compatible = "zmk,behavior-macro";
            #binding-cells = <0>;
            bindings =
                <&macro_press>,
                <&kp LALT>,
                <&macro_tap>,
                <&kp KP_PLUS &kp KP_N0 &kp KP_N4 &kp KP_N2 &kp KP_N4>,
                <&macro_release>,
                <&kp LALT>;

            label = "RU_F_SHIFT";
        };

        ru_x: ru_x {
            compatible = "zmk,behavior-macro";
            #binding-cells = <0>;
            bindings =
                <&macro_press>,
                <&kp LALT>,
                <&macro_tap>,
                <&kp KP_PLUS &kp KP_N0 &kp KP_N4 &kp KP_N4 &kp KP_N5>,
                <&macro_release>,
                <&kp LALT>;

            label = "RU_X";
        };

        ru_x_shift: ru_x_shift {
            compatible = "zmk,behavior-macro";
            #binding-cells = <0>;
            bindings =
                <&macro_press>,
                <&kp LALT>,
                <&macro_tap>,
                <&kp KP_PLUS &kp KP_N0 &kp KP_N4 &kp KP_N2 &kp KP_N5>,
                <&macro_release>,
                <&kp LALT>;

            label = "RU_X_SHIFT";
        };

        ru_c: ru_c {
            compatible = "zmk,behavior-macro";
            #binding-cells = <0>;
            bindings =
                <&macro_press>,
                <&kp LALT>,
                <&macro_tap>,
                <&kp KP_PLUS &kp KP_N0 &kp KP_N4 &kp KP_N4 &kp KP_N6>,
                <&macro_release>,
                <&kp LALT>;

            label = "RU_C";
        };

        ru_c_shift: ru_c_shift {
            compatible = "zmk,behavior-macro";
            #binding-cells = <0>;
            bindings =
                <&macro_press>,
                <&kp LALT>,
                <&macro_tap>,
                <&kp KP_PLUS &kp KP_N0 &kp KP_N4 &kp KP_N2 &kp KP_N6>,
                <&macro_release>,
                <&kp LALT>;

            label = "RU_C_SHIFT";
        };

        ru_ch: ru_ch {
            compatible = "zmk,behavior-macro";
            #binding-cells = <0>;
            bindings =
                <&macro_press>,
                <&kp LALT>,
                <&macro_tap>,
                <&kp KP_PLUS &kp KP_N0 &kp KP_N4 &kp KP_N4 &kp KP_N7>,
                <&macro_release>,
                <&kp LALT>;

            label = "RU_CH";
        };

        ru_ch_shift: ru_ch_shift {
            compatible = "zmk,behavior-macro";
            #binding-cells = <0>;
            bindings =
                <&macro_press>,
                <&kp LALT>,
                <&macro_tap>,
                <&kp KP_PLUS &kp KP_N0 &kp KP_N4 &kp KP_N2 &kp KP_N7>,
                <&macro_release>,
                <&kp LALT>;

            label = "RU_CH_SHIFT";
        };

        ru_sh: ru_sh {
            compatible = "zmk,behavior-macro";
            #binding-cells = <0>;
            bindings =
                <&macro_press>,
                <&kp LALT>,
                <&macro_tap>,
                <&kp KP_PLUS &kp KP_N0 &kp KP_N4 &kp KP_N4 &kp KP_N8>,
                <&macro_release>,
                <&kp LALT>;

            label = "RU_SH";
        };

        ru_sh_shift: ru_sh_shift {
            compatible = "zmk,behavior-macro";
            #binding-cells = <0>;
            bindings =
                <&macro_press>,
                <&kp LALT>,
                <&macro_tap>,
                <&kp KP_PLUS &kp KP_N0 &kp KP_N4 &kp KP_N2 &kp KP_N8>,
                <&macro_release>,
                <&kp LALT>;

            label = "RU_SH_SHIFT";
        };

        ru_shch: ru_shch {
            compatible = "zmk,behavior-macro";
            #binding-cells = <0>;
            bindings =
                <&macro_press>,
                <&kp LALT>,
                <&macro_tap>,
                <&kp KP_PLUS &kp KP_N0 &kp KP_N4 &kp KP_N4 &kp KP_N9>,
                <&macro_release>,
                <&kp LALT>;

            label = "RU_SHCH";
        };

        ru_shch_shift: ru_shch_shift {
            compatible = "zmk,behavior-macro";
            #binding-cells = <0>;
            bindings =
                <&macro_press>,
                <&kp LALT>,
                <&macro_tap>,
                <&kp KP_PLUS &kp KP_N0 &kp KP_N4 &kp KP_N2 &kp KP_N9>,
                <&macro_release>,
                <&kp LALT>;

            label = "RU_SHCH_SHIFT";
        };

        ru_hard: ru_hard {
            compatible = "zmk,behavior-macro";
            #binding-cells = <0>;
            bindings =
                <&macro_press>,
                <&kp LALT>,
                <&macro_tap>,
                <&kp KP_PLUS &kp KP_N0 &kp KP_N4 &kp KP_N4 &kp A>,
                <&macro_release>,
                <&kp LALT>;

            label = "RU_HARD";
        };

        ru_hard_shift: ru_hard_shift {
            compatible = "zmk,behavior-macro";
            #binding-cells = <0>;
            bindings =
                <&macro_press>,
                <&kp LALT>,
                <&macro_tap>,
                <&kp KP_PLUS &kp KP_N0 &kp KP_N4 &kp KP_N2 &kp A>,
                <&macro_release>,
                <&kp LALT>;

            label = "RU_HARD_SHIFT";
        };

        ru_y: ru_y {
            compatible = "zmk,behavior-macro";
            #binding-cells = <0>;
            bindings =
                <&macro_press>,
                <&kp LALT>,
                <&macro_tap>,
                <&kp KP_PLUS &kp KP_N0 &kp KP_N4 &kp KP_N4 &kp B>,
                <&macro_release>,
                <&kp LALT>;

            label = "RU_Y";
        };

        ru_y_shift: ru_y_shift {
            compatible = "zmk,behavior-macro";
            #binding-cells = <0>;
            bindings =
                <&macro_press>,
                <&kp LALT>,
                <&macro_tap>,
                <&kp KP_PLUS &kp KP_N0 &kp KP_N4 &kp KP_N2 &kp B>,
                <&macro_release>,
                <&kp LALT>;

            label = "RU_Y_SHIFT";
        };

        ru_soft: ru_soft {
            compatible = "zmk,behavior-macro";
            #binding-cells = <0>;
            bindings =
                <&macro_press>,
                <&kp LALT>,
                <&macro_tap>,
                <&kp KP_PLUS &kp KP_N0 &kp KP_N4 &kp KP_N4 &kp C>,
                <&macro_release>,
                <&kp LALT>;

            label = "RU_SOFT";
        };

        ru_soft_shift: ru_soft_shift {
            compatible = "zmk,behavior-macro";
            #binding-cells = <0>;
            bindings =
                <&macro_press>,
                <&kp LALT>,
                <&macro_tap>,
                <&kp KP_PLUS &kp KP_N0 &kp KP_N4 &kp KP_N2 &kp C>,
                <&macro_release>,
                <&kp LALT>;

            label = "RU_SOFT_SHIFT";
        };

        ru_e: ru_e {
            compatible = "zmk,behavior-macro";
            #binding-cells = <0>;
            bindings =
                <&macro_press>,
                <&kp LALT>,
                <&macro_tap>,
                <&kp KP_PLUS &kp KP_N0 &kp KP_N4 &kp KP_N4 &kp D>,
                <&macro_release>,
                <&kp LALT>;

            label = "RU_E";
        };

        ru_e_shift: ru_e_shift {
            compatible = "zmk,behavior-macro";
            #binding-cells = <0>;
            bindings =
                <&macro_press>,
                <&kp LALT>,
                <&macro_tap>,
                <&kp KP_PLUS &kp KP_N0 &kp KP_N4 &kp KP_N2 &kp D>,
                <&macro_release>,
                <&kp LALT>;

            label = "RU_E_SHIFT";
        };

        ru_yu: ru_yu {
            compatible = "zmk,behavior-macro";
            #binding-cells = <0>;
            bindings =
                <&macro_press>,
                <&kp LALT>,
                <&macro_tap>,
                <&kp KP_PLUS &kp KP_N0 &kp KP_N4 &kp KP_N4 &kp E>,
                <&macro_release>,
                <&kp LALT>;

            label = "RU_YU";
        };

        ru_yu_shift: ru_yu_shift {
            compatible = "zmk,behavior-macro";
            #binding-cells = <0>;
            bindings =
                <&macro_press>,
                <&kp LALT>,
                <&macro_tap>,
                <&kp KP_PLUS &kp KP_N0 &kp KP_N4 &kp KP_N2 &kp E>,
                <&macro_release>,
                <&kp LALT>;

            label = "RU_YU_SHIFT";
        };

        ru_ya: ru_ya {
            compatible = "zmk,behavior-macro";
            #binding-cells = <0>;
            bindings =
                <&macro_press>,
                <&kp LALT>,
                <&macro_tap>,
                <&kp KP_PLUS &kp KP_N0 &kp KP_N4 &kp KP_N4 &kp F>,
                <&macro_release>,
                <&kp LALT>;

            label = "RU_YA";
        };

        ru_ya_shift: ru_ya_shift {
            compatible = "zmk,behavior-macro";
            #binding-cells = <0>;
            bindings =
                <&macro_press>,
                <&kp LALT>,
                <&macro_tap>,
                <&kp KP_PLUS &kp KP_N0 &kp KP_N4 &kp KP_N2 &kp F>,
                <&macro_release>,
                <&kp LALT>;

            label = "RU_YA_SHIFT";
        };

        cz_left_quote: cz_left_quote {
            compatible = "zmk,behavior-macro";
            #binding-cells = <0>;
            bindings =
                <&macro_press>,
                <&kp LALT>,
                <&macro_tap>,
                <&kp KP_PLUS &kp KP_N2 &kp KP_N0 &kp KP_N1 &kp E>,
                <&macro_release>,
                <&kp LALT>;

            label = "CZ_LEFT_QUOTE";
        };

        cz_right_quote: cz_right_quote {
            compatible = "zmk,behavior-macro";
            #binding-cells = <0>;
            bindings =
                <&macro_press>,
                <&kp LALT>,
                <&macro_tap>,
                <&kp KP_PLUS &kp KP_N2 &kp KP_N0 &kp KP_N1 &kp C>,
                <&macro_release>,
                <&kp LALT>;

            label = "CZ_RIGHT_QUOTE";
        };

        en_left_quote: en_left_quote {
            compatible = "zmk,behavior-macro";
            #binding-cells = <0>;
            bindings =
                <&macro_press>,
                <&kp LALT>,
                <&macro_tap>,
                <&kp KP_PLUS &kp KP_N2 &kp KP_N0 &kp KP_N1 &kp C>,
                <&macro_release>,
                <&kp LALT>;

            label = "EN_LEFT_QUOTE";
        };

        en_right_quote: en_right_quote {
            compatible = "zmk,behavior-macro";
            #binding-cells = <0>;
            bindings =
                <&macro_press>,
                <&kp LALT>,
                <&macro_tap>,
                <&kp KP_PLUS &kp KP_N2 &kp KP_N0 &kp KP_N1 &kp D>,
                <&macro_release>,
                <&kp LALT>;

            label = "EN_RIGHT_QUOTE";
        };

        ru_left_quote: ru_left_quote {
            compatible = "zmk,behavior-macro";
            #binding-cells = <0>;
            bindings =
                <&macro_press>,
                <&kp LALT>,
                <&macro_tap>,
                <&kp KP_PLUS &kp KP_N0 &kp KP_N0 &kp A &kp B>,
                <&macro_release>,
                <&kp LALT>;

            label = "RU_LEFT_QUOTE";
        };

        ru_right_quote: ru_right_quote {
            compatible = "zmk,behavior-macro";
            #binding-cells = <0>;
            bindings =
                <&macro_press>,
                <&kp LALT>,
                <&macro_tap>,
                <&kp KP_PLUS &kp KP_N0 &kp KP_N0 &kp B &kp B>,
                <&macro_release>,
                <&kp LALT>;

            label = "RU_RIGHT_QUOTE";
        };

        cz: cz {
            compatible = "zmk,behavior-macro";
            #binding-cells = <0>;
            bindings = <&kp C &kp Z>;
            label = "CZ";
        };

        cz_shift: cz_shift {
            compatible = "zmk,behavior-macro";
            #binding-cells = <0>;
            bindings = <&kp LS(C) &kp LS(Z)>;
            label = "CZ_SHIFT";
        };

        en: en {
            compatible = "zmk,behavior-macro";
            #binding-cells = <0>;
            bindings = <&kp E &kp N>;
            label = "EN";
        };

        en_shift: en_shift {
            compatible = "zmk,behavior-macro";
            #binding-cells = <0>;
            bindings = <&kp LS(E) &kp LS(N)>;
            label = "EN_SHIFT";
        };

        ru: ru {
            compatible = "zmk,behavior-macro";
            #binding-cells = <0>;
            bindings = <&kp R &kp U>;
            label = "RU";
        };

        ru_shift: ru_shift {
            compatible = "zmk,behavior-macro";
            #binding-cells = <0>;
            bindings = <&kp LS(R) &kp LS(U)>;
            label = "RU_SHIFT";
        };

        sumou: sumou {
            compatible = "zmk,behavior-macro";
            #binding-cells = <0>;
            bindings = <&kp S &kp M>;
            label = "SUMOU";
        };

        sumou_shift: sumou_shift {
            compatible = "zmk,behavior-macro";
            #binding-cells = <0>;
            bindings = <&kp LS(S) &kp LS(M)>;
            label = "SUMOU_SHIFT";
        };
    };

    keymap {
        compatible = "zmk,keymap";

        english {
            bindings = <
&to 4                       &kp F1                &kp F2                  &kp F3                         &kp F4             &kp F5                   &kp F6                      &kp F7           &kp F8                    &kp F9         &kp F10                &kp EQUAL
&kp EQUAL                   &mt AT_SIGN NUMBER_1  &mt AMPERSAND NUMBER_2  &mt LEFT_PARENTHESIS NUMBER_3  &mt HASH NUMBER_4  &mt LEFT_BRACKET N5      &mt RIGHT_BRACKET NUMBER_6  &mt ASTERISK N7  &mt RIGHT_PARENTHESIS N8  &mt DOLLAR N9  &mt CARET N0           &kp UP_ARROW
&mt LESS_THAN GREATER_THAN  &mt UNDERSCORE MINUS  &kp C                   &kp M                          &kp W              &kp K                    &kp Q                       &kp F            &kp R                     &kp L          &mt DOUBLE_QUOTES SQT  &kp DOWN
&mt SEMICOLON COLON         &kp I                 &kp O                   &kp A                          &kp E              &kp V                    &kp B                       &kp T            &kp N                     &kp S          &kp H                  &kp LEFT
&mt EXCLAMATION QUESTION    &mt COMMA PERIOD      &kp X                   &kp P                          &kp U              &kp Z                    &kp G                       &kp D            &kp Y                     &kp J          &mt PIPE SLASH         &kp RIGHT
                                                                          &kp TAB                        &sk LEFT_SHIFT     &mt SPACE RET            &kp BACKSPACE               &kp SPACE        &kp RET
                                                                          &mt GRAVE TILDE                &kp LCTRL          &mt PERCENT BACKSLASH    &mt LEFT_ALT ESCAPE         &kp RCTRL        &kt LEFT_GUI
            >;

            label = "Default";
        };

        czech {
            bindings = <
&to 0   &trans   &trans    &trans    &trans    &trans      &cz       &trans    &sl 2     &sl 5     &caron           &acute
&trans  &u_ring  &z_caron  &a_acute  &r_caron  &y_acute    &c_caron  &e_caron  &i_acute  &e_acute  &s_caron         &trans
&trans  &trans   &trans    &trans    &trans    &trans      &trans    &trans    &trans    &trans    &cz_right_quote  &trans
&trans  &trans   &trans    &trans    &trans    &trans      &trans    &trans    &trans    &trans    &trans           &trans
&trans  &trans   &trans    &trans    &trans    &trans      &trans    &trans    &trans    &trans    &cz_left_quote   &trans
                           &trans    &trans    &trans      &trans    &trans    &trans
                           &trans    &trans    &trans      &trans    &trans    &trans
            >;
        };

        czech_ext {
            bindings = <
&trans  &trans    &trans    &trans    &trans    &trans    &trans  &trans    &trans    &trans    &trans  &trans
&trans  &trans    &trans    &trans    &trans    &trans    &trans  &trans    &trans    &trans    &trans  &trans
&trans  &trans    &trans    &trans    &trans    &trans    &trans  &trans    &trans    &l_caron  &trans  &trans
&trans  &i_acute  &o_acute  &a_acute  &e_acute  &trans    &trans  &t_caron  &n_caron  &s_caron  &trans  &trans
&trans  &trans    &trans    &trans    &trans    &trans    &trans  &d_caron  &trans    &trans    &trans  &trans
                            &trans    &trans    &trans    &trans  &trans    &trans
                            &trans    &trans    &trans    &trans  &trans    &trans
            >;
        };

        czech_ext_shift {
            bindings = <
&trans  &trans          &trans          &trans          &trans          &trans            &trans  &trans          &trans          &trans          &trans  &trans
&trans  &trans          &trans          &trans          &trans          &trans            &trans  &trans          &trans          &trans          &trans  &trans
&trans  &trans          &c_caron_shift  &trans          &trans          &trans            &trans  &trans          &r_caron_shift  &trans          &trans  &trans
&trans  &i_acute_shift  &o_acute_shift  &a_acute_shift  &e_acute_shift  &trans            &trans  &t_caron_shift  &n_caron_shift  &s_caron_shift  &trans  &trans
&trans  &trans          &trans          &trans          &u_acute_shift  &z_caron_shift    &trans  &d_caron_shift  &trans          &trans          &trans  &trans
                                        &trans          &trans          &trans            &trans  &trans          &trans
                                        &trans          &trans          &trans            &trans  &trans          &trans
            >;
        };

        macron {
            bindings = <
&to 0   &to 1            &to 6            &trans           &trans           &trans    &sumou  &trans  &trans  &trans          &trans           &sumou
&trans  &en_dash         &trans           &trans           &trans           &trans    &trans  &trans  &trans  &trans          &trans           &trans
&trans  &em_dash         &o_macron_shift  &a_macron_shift  &e_macron_shift  &trans    &trans  &trans  &trans  &en_left_quote  &en_right_quote  &trans
&trans  &i_macron        &o_macron        &a_macron        &e_macron        &okina    &trans  &trans  &trans  &trans          &trans           &trans
&trans  &i_macron_shift  &trans           &u_macron_shift  &u_macron        &trans    &trans  &trans  &trans  &trans          &en_left_quote   &trans
                                          &trans           &trans           &trans    &trans  &trans  &trans
                                          &trans           &trans           &trans    &trans  &trans  &trans
            >;
        };

        german {
            bindings = <
&trans  &trans  &trans        &trans        &trans        &trans    &bt BT_NXT  &rgb_ug RGB_TOG  &trans  &trans    &trans  &trans
&trans  &trans  &trans        &trans        &trans        &trans    &trans      &trans           &trans  &trans    &trans  &trans
&trans  &trans  &trans        &trans        &trans        &trans    &trans      &trans           &trans  &trans    &trans  &trans
&trans  &trans  &o_diaeresis  &a_diaeresis  &trans        &trans    &trans      &trans           &trans  &s_sharp  &trans  &trans
&trans  &trans  &trans        &trans        &u_diaeresis  &trans    &trans      &trans           &trans  &trans    &trans  &trans
                              &trans        &trans        &trans    &trans      &trans           &trans
                              &trans        &trans        &trans    &trans      &trans           &trans
            >;
        };

        russian {
            bindings = <
&to 0   &trans    &trans    &trans  &trans  &trans    &trans  &trans  &trans   &trans    &trans           &trans
&trans  &ru_yu    &ru_hard  &trans  &ru_yo  &trans    &ru_ch  &ru_e   &numero  &ru_shch  &ru_sh           &trans
&trans  &em_dash  &ru_c     &ru_m   &ru_zh  &ru_k     &ru_ya  &ru_f   &ru_r    &ru_l     &ru_right_quote  &trans
&trans  &ru_i     &ru_o     &ru_a   &ru_ye  &ru_v     &ru_b   &ru_t   &ru_n    &ru_s     &ru_x            &trans
&trans  &trans    &ru_soft  &ru_p   &ru_u   &ru_z     &ru_g   &ru_d   &ru_y    &ru_j     &ru_hard         &trans
                            &trans  &sl 7   &trans    &trans  &trans  &trans
                            &trans  &trans  &trans    &trans  &trans  &trans
            >;
        };

        russian_shift {
            bindings = <
&trans  &trans        &trans          &trans       &trans        &trans          &trans        &trans       &trans       &trans          &trans          &trans
&trans  &ru_yu_shift  &ru_hard_shift  &trans       &ru_ya_shift  &trans          &ru_ch_shift  &ru_e_shift  &numero      &ru_shch_shift  &ru_sh_shift    &trans
&trans  &trans        &ru_c_shift     &ru_m_shift  &ru_zh_shift  &ru_k_shift     &ru_ya_shift  &ru_f_shift  &ru_r_shift  &ru_l_shift     &ru_left_quote  &trans
&trans  &ru_i_shift   &ru_o_shift     &ru_a_shift  &ru_ye_shift  &ru_zh_shift    &ru_b_shift   &ru_t_shift  &ru_n_shift  &ru_s_shift     &ru_x_shift     &trans
&trans  &trans        &ru_soft_shift  &ru_p_shift  &ru_u_shift   &ru_z_shift     &ru_g_shift   &ru_d_shift  &ru_y_shift  &ru_j_shift     &ru_hard_shift  &trans
                                      &trans       &trans        &trans          &trans        &trans       &trans
                                      &trans       &trans        &trans          &trans        &trans       &trans
            >;
        };
    };
};
